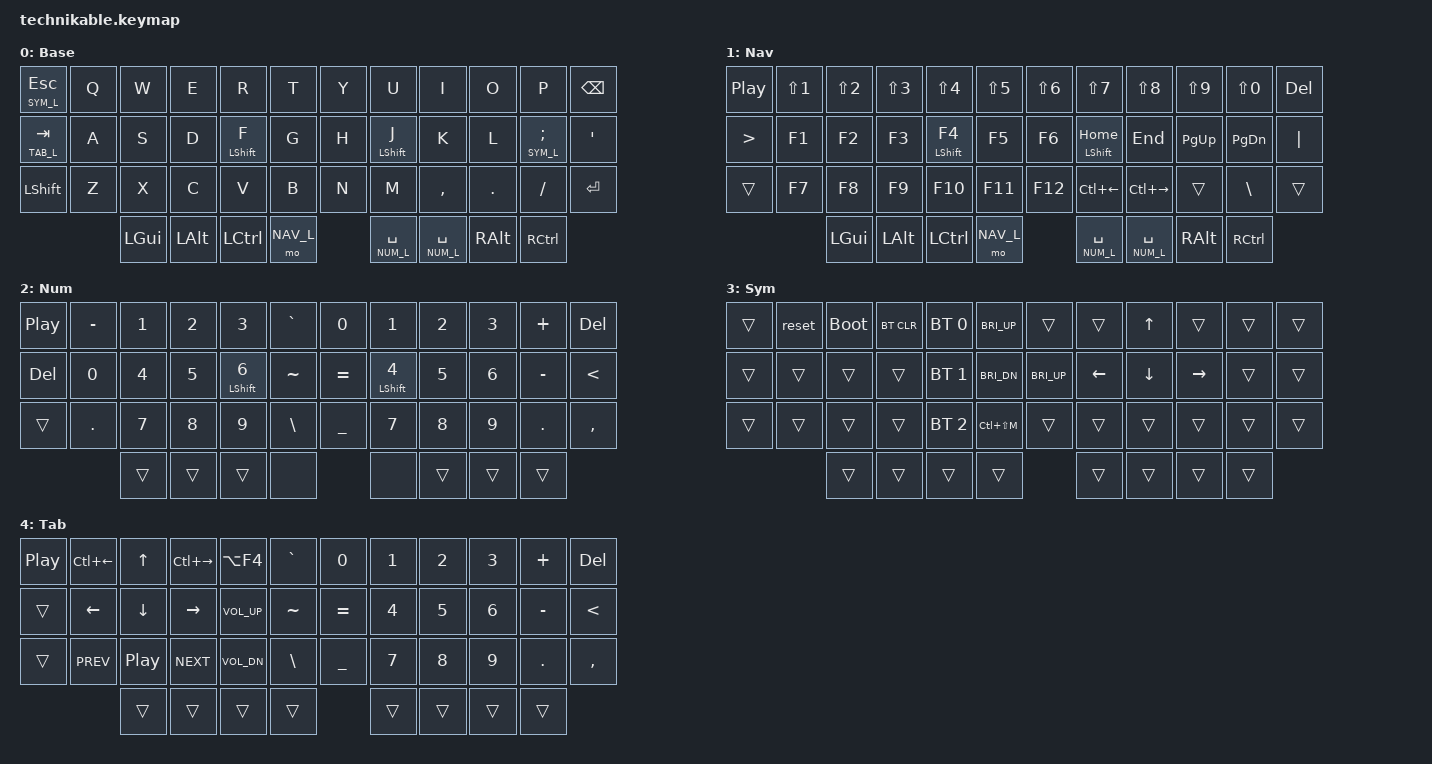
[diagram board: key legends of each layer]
/*
 * Copyright (c) 2022 Pete Johanson
 *
 * SPDX-License-Identifier: MIT
 */

#include <behaviors.dtsi>
#include <dt-bindings/zmk/keys.h>
#include <dt-bindings/zmk/bt.h>
#include <dt-bindings/zmk/outputs.h>

#define BAS_L 0
#define NAV_L 1
#define NUM_L 2
#define SYM_L 3
#define TAB_L 4

// Using layer taps on thumbs, having quick tap as well helps w/ repeating space/backspace
&lt { quick_tap_ms = <180>; };

#define BT(n) BT_SEL n

/ {
    combos {
          #include "combos_technik.dtsi"
     };

    chosen {
        zmk,matrix_transform =
            &ortho_transform;
    };


    behaviors {
		hm: homerow_mods {
            compatible = "zmk,behavior-hold-tap";
            label = "HOMEROW_MODS";
            #binding-cells = <2>;
            tapping-term-ms = <180>;
            quick_tap_ms = <0>;
            flavor = "tap-preferred";
            bindings = <&kp>, <&kp>;
        };
	};

    keymap {
        compatible = "zmk,keymap";

        base_layer {
            label = "Base";
            bindings = <
 &lt SYM_L ESC    &kp Q      &kp W      &kp E       &kp R          &kp T          &kp Y            &kp U          &kp I       &kp O      &kp P         &kp BKSP
 &lt TAB_L TAB    &kp A      &kp S      &kp D      &hm LSHFT F     &kp G          &kp H            &hm LSHFT J          &kp K       &kp L      &lt SYM_L SEMI      &kp QUOT
 &kp LSHFT      &kp Z      &kp X      &kp C       &kp V             &kp B          &kp N            &kp M          &kp COMMA   &kp DOT    &kp FSLH      &kp RET
                       &kp LGUI  &kp LALT    &kp LCTRL      &mo NAV_L      &lt NUM_L SPACE        &lt NUM_L SPACE      &kp RALT    &kp RCTRL

            >;
        };

        nav_layer {
            label = "Nav";
            bindings = <
&kp C_PP	&kp LS(N1) 	&kp LS(N2) 	&kp LS(N3) 	&kp LS(N4) 		&kp LS(N5) 	&kp LS(N6) 	&kp LS(N7) 		&kp LS(N8) 		&kp LS(N9) 		&kp LS(N0) 		&kp DEL
&kp GT		&kp F1 		&kp F2 		&kp F3 		&hm LSHFT F4 	&kp F5  	&kp F6 	 	&hm LSHFT HOME 		&kp END 		&kp PG_UP		&kp PG_DN		&kp PIPE
&trans		&kp F7 		&kp F8 		&kp F9 		&kp F10	    &kp F11 	    &kp F12 	&kp LC(LEFT) 	&kp LC(RIGHT)	&trans  		&kp BSLH  		&trans
                       &kp LGUI  &kp LALT    &kp LCTRL      &mo NAV_L      &lt NUM_L SPACE        &lt NUM_L SPACE      &kp RALT    &kp RCTRL
            >;
        };

        num_layer {
            label = "Num";
            bindings = <
&kp C_PP 	&kp MINUS 	&kp N1 		&kp N2 		&kp N3		&kp GRAVE		&kp N0 		&kp N1 		&kp N2 		&kp N3 			&kp PLUS 		&kp DEL
&kp DEL 	&kp N0  	&kp N4 		&kp N5 		&hm LSHFT N6		&kp TILDE		&kp EQUAL 	&hm LSHFT N4 		&kp N5 		&kp N6 			&kp MINUS 		&kp LT
&trans 		&kp DOT 	&kp N7 		&kp N8 		&kp N9		        &kp BSLH 		&kp UNDER 	&kp N7 		&kp N8 		&kp N9 			&kp DOT 		&kp COMMA
                     &trans    &trans      &trans    &none         &none     &trans        &trans      &trans
            >;
        };
        
        sym_layer {
            label = "Sym";
            bindings = <
			&trans	&reset 	&bootloader 	&bt BT_CLR 		&bt BT_SEL 0 	&kp C_BRI_UP 	&trans          &trans		&kp UP 		&trans		&trans 	&trans 	
			&trans	&trans 	&trans 			&trans          &bt BT_SEL 1    &kp C_BRI_DN 	&kp C_BRI_UP 	&kp LEFT 		&kp DOWN 	&kp RIGHT 	&trans 	&trans 	
			&trans	&trans 	&trans 			&trans 		    &bt BT_SEL 2 	&kp LC(LS(M)) 	&trans 			&trans			&trans 		&trans 		&trans 		&trans 	
                      &trans    &trans      &trans          &trans       &trans    &trans  &trans         &trans
            >;
        };    
        
        tab_layer {
            label = "Tab";
            bindings = <
&kp C_PP 	&kp LC(LEFT) 	&kp UP	 	&kp LC(RIGHT) 	&kp LA(F4)		&kp GRAVE		&kp N0 		&kp N1 		&kp N2 		&kp N3 			&kp PLUS 		&kp DEL
&trans 	    &kp LEFT 		&kp DOWN 	&kp RIGHT 		&kp C_VOL_UP	&kp TILDE		&kp EQUAL 	&kp N4 		&kp N5 		&kp N6 			&kp MINUS 		&kp LT
&trans 		&kp C_PREV 		&kp C_PP 	&kp C_NEXT 		&kp C_VOL_DN 	&kp BSLH 		&kp UNDER 	&kp N7 		&kp N8 		&kp N9 			&kp DOT 		&kp COMMA
                      &trans    &trans      &trans          &trans       &trans    &trans  &trans         &trans
            >;
        };
    };
};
